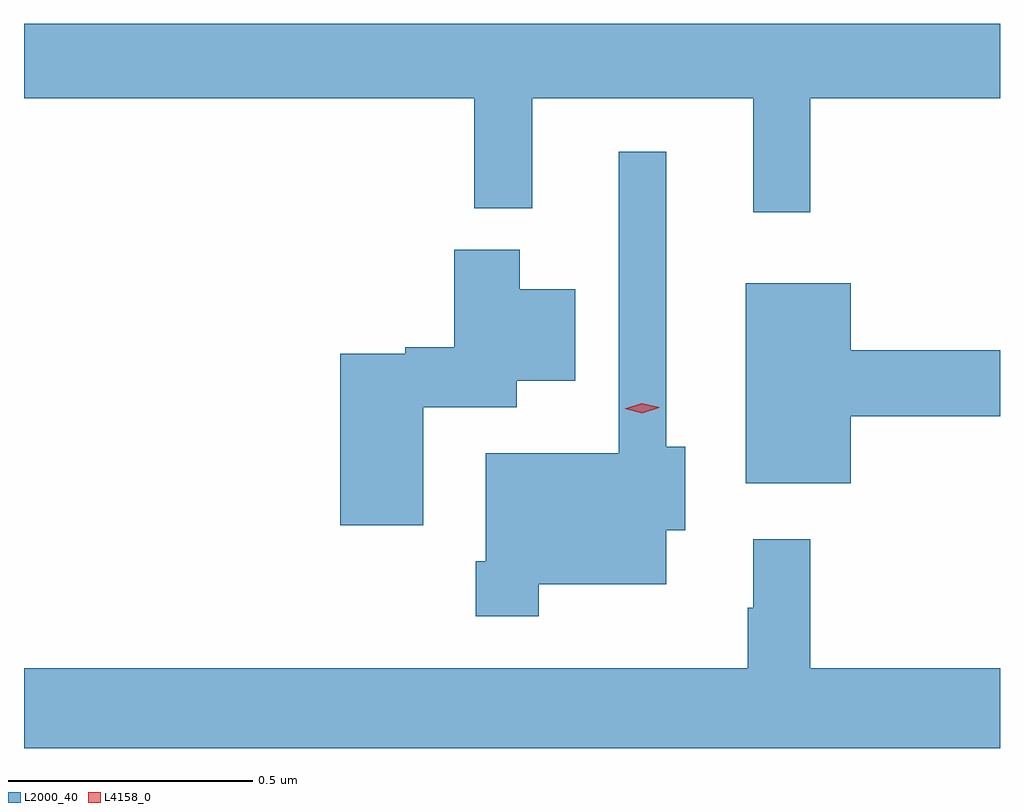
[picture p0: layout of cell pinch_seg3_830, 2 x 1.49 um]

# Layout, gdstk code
import gdstk
lib = gdstk.Library(unit=1e-6, precision=1e-09)
def P(c, l, *ps):  # polygons
    for p in ps: c.add(gdstk.Polygon(p, *l))
L2000_40 = (2000, 40)
L4158_0 = (4158, 0)

pinch_seg3_830 = lib.new_cell('pinch_seg3_830')
P(pinch_seg3_830, L2000_40, [(864.485,726.224),(864.874,726.224),(864.874,726.377),(862.874,726.377),(862.874,726.224),(863.797,726.224),(863.797,725.999),(863.915,725.999),(863.915,726.224),(864.368,726.224),(864.368,725.991),(864.485,725.991)],
  [(863.929,725.228),(864.19,725.228),(864.19,725.339),(864.229,725.339),(864.229,725.51),(864.19,725.51),(864.19,726.115),(864.093,726.115),(864.093,725.497),(863.82,725.497),(863.82,725.275),(863.8,725.275),(863.8,725.163),(863.929,725.163)],
  [(863.692,725.591),(863.884,725.591),(863.884,725.645),(864.004,725.645),(864.004,725.833),(863.89,725.833),(863.89,725.914),(863.756,725.914),(863.756,725.714),(863.655,725.714),(863.655,725.701),(863.522,725.701),(863.522,725.349),(863.692,725.349)],
  [(864.568,725.572),(864.874,725.572),(864.874,725.708),(864.568,725.708),(864.568,725.845),(864.353,725.845),(864.353,725.435),(864.568,725.435)],
  [(864.874,725.056),(864.485,725.056),(864.485,725.32),(864.368,725.32),(864.368,725.18),(864.357,725.18),(864.357,725.056),(862.874,725.056),(862.874,724.892),(864.874,724.892)])
P(pinch_seg3_830, L4158_0, [(864.141,725.579),(864.105,725.588),(864.104,725.588),(864.105,725.588),(864.14,725.599),(864.176,725.591),(864.176,725.59),(864.176,725.59)])

lib.write_gds('pinch_seg3_830.gds')
